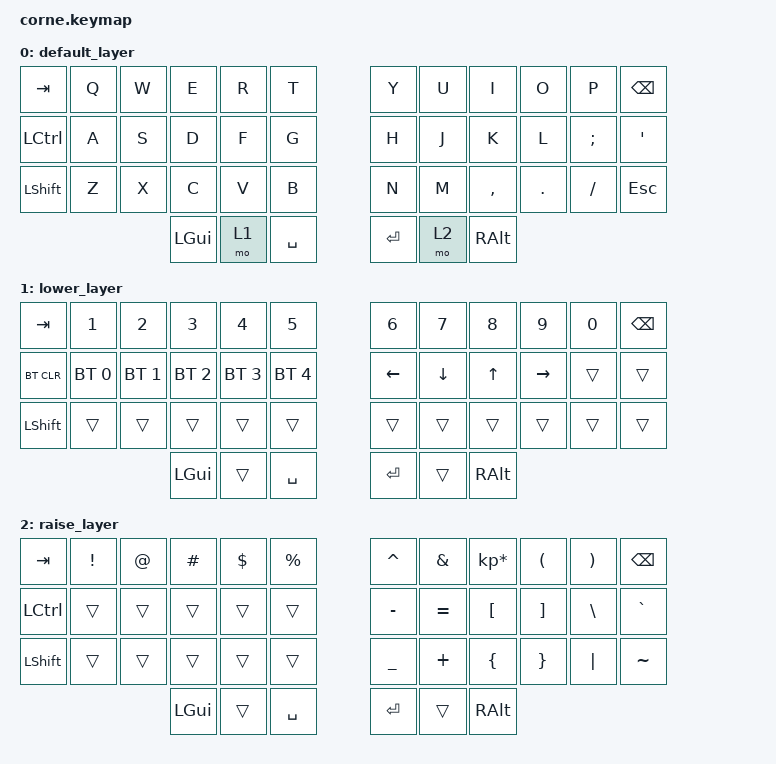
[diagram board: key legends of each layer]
/*
 * Copyright (c) 2020 The ZMK Contributors
 *
 * SPDX-License-Identifier: MIT
 */

#include <behaviors.dtsi>
#include <dt-bindings/zmk/keys.h>
#include <dt-bindings/zmk/bt.h>
#include <dt-bindings/zmk/outputs.h>
#include <dt-bindings/zmk/mouse.h>

#define BASE        0
#define SYMBOLS     1
#define NUM_NAV     2
#define COMP_LC     3
#define COMP_UC     4

#define COMPOSE CAPS

#define cap(a) str("C" ##a)
#define str(a)  #a

#define COMPOSE_MACRO0(name, a, b)                                      \
	name: name {                                                    \
		compatible = "zmk,behavior-macro";                      \
		label = #name;                                          \
		#binding-cells = <0>;                                   \
		bindings = <&kp COMPOSE>, <&kp a>, <&kp b>;             \
	};

#define COMPOSE_MACRO(name, a, b)                                       \
	COMPOSE_MACRO0(name, a, b)                                      \
	                                                                \
	C ## name: C ## name {                                          \
		compatible = "zmk,behavior-macro";                      \
		label = cap(name);                                      \
		#binding-cells = <0>;                                   \
		bindings = <&kp COMPOSE>, <&kp a>, <&sk RSFT>, <&kp b>; \
	};

#define COMPOSE_MACRO2(name, a, b)                                      \
	COMPOSE_MACRO0(name, a, b)                                      \
	                                                                \
	C ## name: C ## name {                                          \
		compatible = "zmk,behavior-macro";                      \
		label = cap(name);                                      \
		#binding-cells = <0>;                                   \
		bindings = <&kp COMPOSE>, <&sk RSFT>, <&kp a>,          \
		                          <&sk RSFT>, <&kp b>;          \
	};

/ {
	behaviors {
		COMPOSE_MACRO(agrav, GRAVE, A)
		COMPOSE_MACRO(acirc, CARET, A)
		COMPOSE_MACRO(egrav, GRAVE, E)
		COMPOSE_MACRO(ecute, SQT,   E)
		COMPOSE_MACRO(ecirc, CARET, E)
		COMPOSE_MACRO(ediae, BSLH,  E)
		COMPOSE_MACRO(icirc, CARET, I)
		COMPOSE_MACRO(idiae, BSLH,  I)
		COMPOSE_MACRO(ocirc, CARET, O)
		COMPOSE_MACRO(ugrav, GRAVE, U)
		COMPOSE_MACRO(ucirc, CARET, U)
		COMPOSE_MACRO(udiae, BSLH,  U)
		COMPOSE_MACRO(ccedi, COMMA, C)

		COMPOSE_MACRO2(aelig, A, E)
		COMPOSE_MACRO2(oelig, O, E)

		COMPOSE_MACRO(nbspc,  SPACE, SPACE)
		COMPOSE_MACRO(foquo,  LT,    LT)
		COMPOSE_MACRO(fcquo,  GT,    GT)
		COMPOSE_MACRO(bullet, DOT,   EQUAL)
		COMPOSE_MACRO(emdash, MINUS, MINUS)
		COMPOSE_MACRO(mult,   X,     X)
		COMPOSE_MACRO(sqrt,   V,     SLASH)
	};

/ {
        keymap {
                compatible = "zmk,keymap";

                default_layer {
// -----------------------------------------------------------------------------------------
// |  TAB |  Q  |  W  |  E  |  R  |  T  |   |  Y  |  U   |  I  |  O  |  P  | BKSP |
// | CTRL |  A  |  S  |  D  |  F  |  G  |   |  H  |  J   |  K  |  L  |  ;  |  '   |
// | SHFT |  Z  |  X  |  C  |  V  |  B  |   |  N  |  M   |  ,  |  .  |  /  | ESC  |
//                    | GUI | LWR | SPC |   | ENT | RSE  | ALT |
                        bindings = <
   &kp TAB   &kp Q &kp W &kp E &kp R &kp T   &kp Y &kp U  &kp I     &kp O   &kp P    &kp BSPC
   &kp LCTRL &kp A &kp S &kp D &kp F &kp G   &kp H &kp J  &kp K     &kp L   &kp SEMI &kp SQT
   &kp LSHFT &kp Z &kp X &kp C &kp V &kp B   &kp N &kp M  &kp COMMA &kp DOT &kp FSLH &kp ESC
                  &kp LGUI &mo 1 &kp SPACE   &kp RET &mo 2 &kp RALT
                        >;
                };
                lower_layer {
// -----------------------------------------------------------------------------------------
// |  TAB |  1  |  2  |  3  |  4  |  5  |   |  6  |  7  |  8  |  9  |  0  | BKSP |
// | BTCLR| BT1 | BT2 | BT3 | BT4 | BT5 |   | LFT | DWN |  UP | RGT |     |      |
// | SHFT |     |     |     |     |     |   |     |     |     |     |     |      |
//                    | GUI |     | SPC |   | ENT |     | ALT |
                        bindings = <
   &kp TAB    &kp N1       &kp N2       &kp N3       &kp N4       &kp N5         &kp N6   &kp N7   &kp N8 &kp N9    &kp N0 &kp BSPC
   &bt BT_CLR &bt BT_SEL 0 &bt BT_SEL 1 &bt BT_SEL 2 &bt BT_SEL 3 &bt BT_SEL 4   &kp LEFT &kp DOWN &kp UP &kp RIGHT &trans &trans
   &kp LSHFT  &trans       &trans       &trans       &trans       &trans         &trans   &trans   &trans &trans    &trans &trans
                          	        &kp LGUI     &trans       &kp SPACE      &kp RET  &trans   &kp RALT
                        >;
                };

                raise_layer {
// -----------------------------------------------------------------------------------------
// |  TAB |  !  |  @  |  #  |  $  |  %  |   |  ^  |  &  |  *  |  (  |  )  | BKSP |
// | CTRL |     |     |     |     |     |   |  -  |  =  |  [  |  ]  |  \  |  `   |
// | SHFT |     |     |     |     |     |   |  _  |  +  |  {  |  }  | "|" |  ~   |
//                    | GUI |     | SPC |   | ENT |     | ALT |
                        bindings = <
   &kp  TAB  &kp EXCL &kp AT &kp HASH &kp DLLR &kp PRCNT   &kp CARET &kp AMPS  &kp KP_MULTIPLY &kp LPAR &kp RPAR &kp BSPC
   &kp LCTRL &trans   &trans &trans   &trans   &trans      &kp MINUS &kp EQUAL &kp LBKT        &kp RBKT &kp BSLH &kp GRAVE
   &kp LSHFT &trans   &trans &trans   &trans   &trans      &kp UNDER &kp PLUS  &kp LBRC        &kp RBRC &kp PIPE &kp TILDE
                    	     &kp LGUI &trans   &kp SPACE   &kp RET   &trans    &kp RALT
                        >;
                };
        };
};
